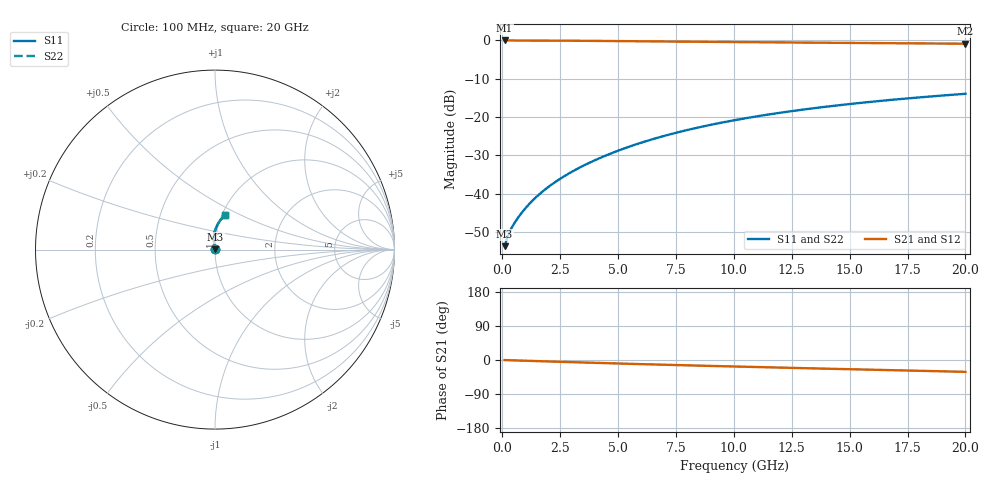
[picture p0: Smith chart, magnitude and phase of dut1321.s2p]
! Touchstone file exported from HFSS 2024.1.0
!  File:  C:/UserFiles/LocalFiles/RDL_TSV_Batchsim/temp_RDL_bottom_1321_1780368972.aedt
!  Generated:  10:58:25 AM Jun  2, 2026
!  Design:  RDL_bottom
!  Project:  temp_RDL_bottom_1321_1780368972
!  Setup:  Setup1
!  Solution:  Sweep
! Variables:
!  dtsv = 10.80580581um
!  hbump = 3um
!  htsv = 75.88um
!  ldown = 510.38um
!  lrdl = 100um
!  p = 40
!  p1 = 43.59um
!  rhole = 1um
!  t = 450um
!  tdown = 3.85um
!  trdl = 3.915915916um
!  wdown = 29.37um
!  wrdl = 20um
# GHz S MA R 50.000000
! Terminal data exported
! Port[1] = RDL1_T1
! Port[2] = RDL1_T2
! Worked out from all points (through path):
!   200 points, 100 MHz to 20 GHz, reference 50 ohm
!   highest |S21| = -0.02 dB at 100 MHz (marker M1); lowest = -0.9 dB at 20 GHz (marker M2)
!   group delay of S21, straight-line fit = 4.26 ps
!   lowest |S11| = -53.7 dB at 100 MHz (marker M3), VSWR 1.00, Z = 50.2 + j0.0853 ohm
!   |S11| at or under -10 dB: start of sweep to end of sweep
!   |S22| runs from -53.7 to -14.0 dB; largest |S21 - S12| = 3.6e-15
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0.1  0.002054 24.4  0.9981 -0.2  0.9981 -0.2  0.002054 24.4
! Gamma 0 0 0 0
! Port Impedance 50 0 50 0
0.2  0.002577 37.3  0.9979 -0.4  0.9979 -0.4  0.002577 37.3
0.3  0.003083 44.6  0.9977 -0.6  0.9977 -0.6  0.003083 44.6
0.4  0.00355 50.0  0.9975 -0.8  0.9975 -0.8  0.00355 50.0
0.5  0.004004 54.6  0.9973 -1.0  0.9973 -1.0  0.004005 54.6
0.7  0.004934 62.2  0.997 -1.4  0.997 -1.4  0.004935 62.2
0.9  0.005921 68.2  0.9967 -1.8  0.9967 -1.8  0.005921 68.1
1.3  0.008062 76.7  0.9959 -2.5  0.9959 -2.5  0.008062 76.6
1.8  0.01101 83.5  0.9946 -3.5  0.9946 -3.5  0.01101 83.5
2.3  0.01423 88.2  0.993 -4.4  0.993 -4.4  0.01423 88.1
2.9  0.01846 92.0  0.9906 -5.5  0.9906 -5.5  0.01845 91.9
3.5  0.02308 94.5  0.9878 -6.6  0.9878 -6.6  0.02307 94.5
4.2  0.02896 96.4  0.9843 -7.9  0.9843 -7.9  0.02894 96.3
5  0.03627 97.4  0.9798 -9.3  0.9798 -9.3  0.03624 97.4
5.9  0.04512 97.7  0.9746 -10.8  0.9746 -10.8  0.04508 97.6
6.8  0.05452 97.2  0.9693 -12.2  0.9693 -12.2  0.05447 97.1
8.4  0.07215 95.2  0.9601 -14.7  0.9601 -14.7  0.07208 95.2
10.1  0.09157 92.4  0.9507 -17.3  0.9507 -17.3  0.09148 92.3
11.7  0.11 89.4  0.9424 -19.6  0.9424 -19.6  0.1099 89.3
13.4  0.1295 86.1  0.9342 -22.1  0.9342 -22.1  0.1294 86.0
16.7  0.1662 79.7  0.9192 -26.7  0.9192 -26.7  0.166 79.7
20  0.2007 73.7  0.9053 -31.2  0.9053 -31.2  0.2005 73.7
